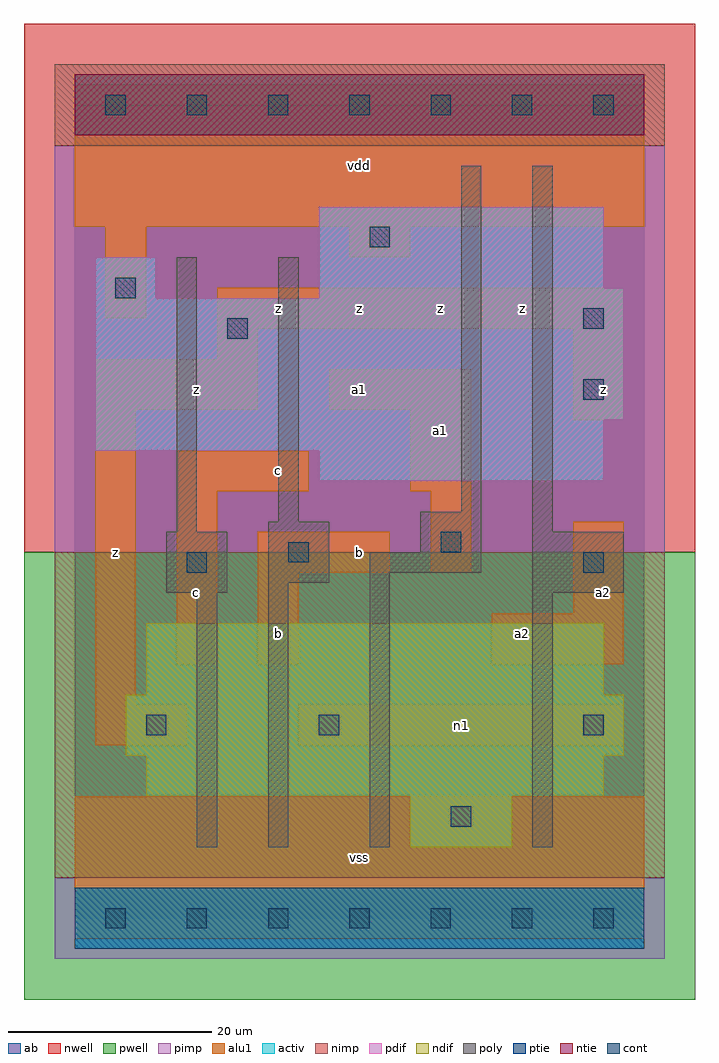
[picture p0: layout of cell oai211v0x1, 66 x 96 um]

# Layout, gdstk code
import gdstk
lib = gdstk.Library(unit=1e-6, precision=1e-09)
def R(c, l, rs):  # rectangles x0, y0, x1, y1
    for r in rs: c.add(gdstk.rectangle(r[:2], r[2:], *l))
def A(c, l, x, y, w, h, nx, ny, dx, dy):  # array of equal rectangles
    R(c, l, [(x+i*dx, y+j*dy, x+i*dx+w, y+j*dy+h) for i in range(nx) for j in range(ny)])
ndif = (3, 0)
pdif = (4, 0)
ntie = (5, 0)
ptie = (6, 0)
cont = (25, 0)
pwell = (41, 0)
nwell = (42, 0)
activ = (43, 0)
pimp = (44, 0)
nimp = (45, 0)
poly = (46, 0)
alu1 = (49, 0)
ab = (63, 0)

oai211v0x1 = lib.new_cell('oai211v0x1')
R(oai211v0x1, ndif, [(33,7,43,12), (7,12,52,16), (5,16,54,22), (7,22,52,29)])
R(oai211v0x1, pdif, [(24,43,52,46), (2,46,52,49), (2,49,54,61), (2,61,8,65), (24,61,54,62), (24,62,52,70)])
R(oai211v0x1, ntie, [(0,77,56,83)])
R(oai211v0x1, ptie, [(0,-3,56,3)])
A(oai211v0x1, cont, 3, -1, 2, 2, 7, 2, 8, 80)
R(oai211v0x1, cont, [(37,9,39,11), (7,18,9,20), (24,18,26,20), (50,18,52,20), (11,34,13,36), (50,34,52,36), (21,35,23,37), (36,36,38,38), (50,51,52,53), (15,57,17,59), (50,58,52,60), (4,61,6,63), (29,66,31,68)])
R(oai211v0x1, pwell, [(-5,-8,61,36)])
R(oai211v0x1, nwell, [(-5,36,61,88)])
R(oai211v0x1, activ, [(0,-3,56,3), (33,7,43,12), (7,12,52,16), (5,16,54,22), (7,22,52,29), (24,43,52,46), (2,46,52,49), (2,49,54,61), (2,61,8,65), (24,61,54,62), (24,62,52,70), (0,77,56,83)])
R(oai211v0x1, pimp, [(-2,-4,58,4), (-2,36,58,76)])
R(oai211v0x1, nimp, [(-2,4,58,36), (-2,76,58,84)])
R(oai211v0x1, poly, [(12,7,14,32), (19,7,21,33), (29,7,31,34), (45,7,47,32), (9,32,15,38), (45,32,54,38), (19,33,25,39), (29,34,40,36), (34,36,40,40), (10,38,12,65), (45,38,47,74), (20,39,22,65), (38,40,40,74)])
R(oai211v0x1, alu1, [(0,-2,56,12), (2,17,11,21), (22,17,54,21), (2,21,6,50), (10,25,14,42), (18,25,22,34), (41,25,54,30), (49,30,54,39), (18,34,31,38), (35,34,39,42), (10,42,23,46), (33,42,39,50), (49,49,54,58), (2,50,18,55), (25,50,39,54), (14,55,18,58), (14,58,54,62), (3,59,7,68), (27,65,33,68), (0,68,56,82)])
R(oai211v0x1, ab, [(0,0,56,80)])
oai211v0x1.add(gdstk.Label('n1', (38,19), layer=49, texttype=0))
oai211v0x1.add(gdstk.Label('z', (4,36), layer=49, texttype=0))
oai211v0x1.add(gdstk.Label('c', (12,32), layer=49, texttype=0))
oai211v0x1.add(gdstk.Label('b', (20,28), layer=49, texttype=0))
oai211v0x1.add(gdstk.Label('c', (20,44), layer=49, texttype=0))
oai211v0x1.add(gdstk.Label('z', (12,52), layer=49, texttype=0))
oai211v0x1.add(gdstk.Label('z', (20,60), layer=49, texttype=0))
oai211v0x1.add(gdstk.Label('vss', (28,6), layer=49, texttype=0))
oai211v0x1.add(gdstk.Label('b', (28,36), layer=49, texttype=0))
oai211v0x1.add(gdstk.Label('a1', (28,52), layer=49, texttype=0))
oai211v0x1.add(gdstk.Label('a1', (36,48), layer=49, texttype=0))
oai211v0x1.add(gdstk.Label('z', (36,60), layer=49, texttype=0))
oai211v0x1.add(gdstk.Label('z', (28,60), layer=49, texttype=0))
oai211v0x1.add(gdstk.Label('vdd', (28,74), layer=49, texttype=0))
oai211v0x1.add(gdstk.Label('a2', (44,28), layer=49, texttype=0))
oai211v0x1.add(gdstk.Label('a2', (52,32), layer=49, texttype=0))
oai211v0x1.add(gdstk.Label('z', (52,52), layer=49, texttype=0))
oai211v0x1.add(gdstk.Label('z', (44,60), layer=49, texttype=0))

lib.write_gds('oai211v0x1.gds')
